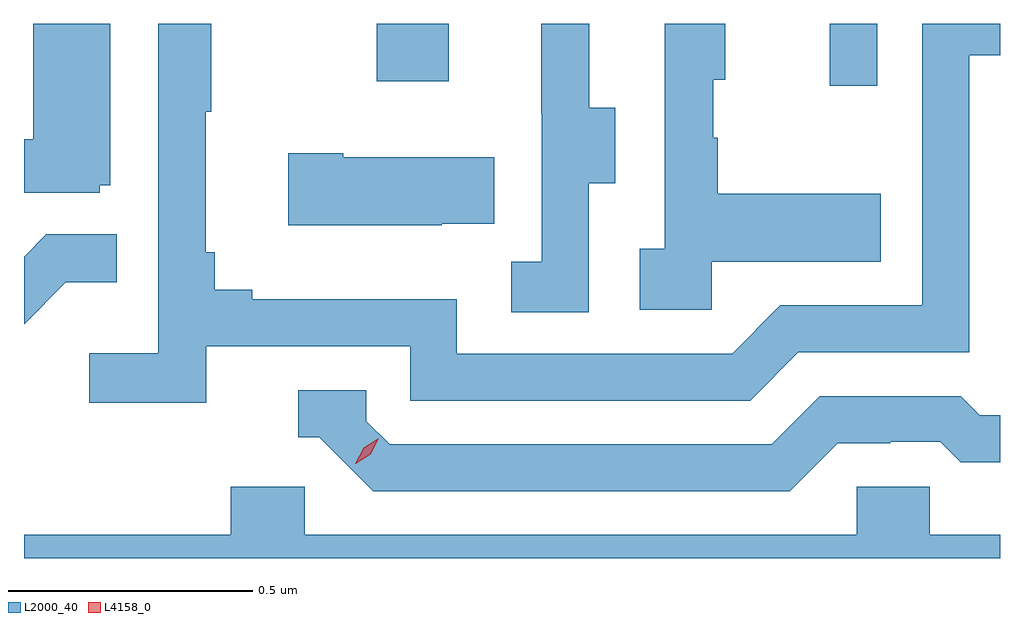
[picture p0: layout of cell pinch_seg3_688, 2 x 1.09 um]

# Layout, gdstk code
import gdstk
lib = gdstk.Library(unit=1e-6, precision=1e-09)
def R(c, l, rs):  # rectangles x0, y0, x1, y1
    for r in rs: c.add(gdstk.rectangle(r[:2], r[2:], *l))
def P(c, l, *ps):  # polygons
    for p in ps: c.add(gdstk.Polygon(p, *l))
L2000_40 = (2000, 40)
L4158_0 = (4158, 0)

pinch_seg3_688 = lib.new_cell('pinch_seg3_688')
R(pinch_seg3_688, L2000_40, [(1136.894,667.368,1136.991,667.495), (1135.966,667.377,1136.113,667.495)])
P(pinch_seg3_688, L2000_40, [(1135.616,666.834),(1136.034,666.834),(1136.034,666.723),(1136.731,666.723),(1136.83,666.822),(1137.18,666.822),(1137.18,667.431),(1137.243,667.431),(1137.243,667.495),(1137.084,667.495),(1137.084,666.918),(1136.793,666.918),(1136.694,666.819),(1136.13,666.819),(1136.13,666.931),(1135.711,666.931),(1135.711,666.95),(1135.634,666.95),(1135.634,667.027),(1135.615,667.027),(1135.615,667.315),(1135.627,667.315),(1135.627,667.495),(1135.518,667.495),(1135.518,666.82),(1135.377,666.82),(1135.377,666.718),(1135.616,666.718)],
  [(1136.4,667.168),(1136.455,667.168),(1136.455,667.323),(1136.401,667.323),(1136.401,667.495),(1136.303,667.495),(1136.303,667.311),(1136.304,667.311),(1136.304,667.007),(1136.241,667.007),(1136.241,666.904),(1136.4,666.904)],
  [(1136.652,667.007),(1136.999,667.007),(1136.999,667.147),(1136.665,667.147),(1136.665,667.262),(1136.655,667.262),(1136.655,667.38),(1136.68,667.38),(1136.68,667.495),(1136.556,667.495),(1136.556,667.034),(1136.505,667.034),(1136.505,666.909),(1136.652,666.909)],
  [(1135.398,667.164),(1135.42,667.164),(1135.42,667.495),(1135.262,667.495),(1135.262,667.258),(1135.243,667.258),(1135.243,667.149),(1135.398,667.149)],
  [(1136.099,667.085),(1136.207,667.085),(1136.207,667.222),(1135.897,667.222),(1135.897,667.23),(1135.785,667.23),(1135.785,667.082),(1136.099,667.082)],
  [(1135.329,666.965),(1135.433,666.965),(1135.433,667.064),(1135.289,667.064),(1135.243,667.018),(1135.243,666.879)],
  [(1136.911,666.636),(1137.018,666.636),(1137.018,666.639),(1137.121,666.639),(1137.163,666.597),(1137.243,666.597),(1137.243,666.693),(1137.202,666.693),(1137.163,666.732),(1136.874,666.732),(1136.775,666.633),(1135.992,666.633),(1135.944,666.681),(1135.944,666.744),(1135.805,666.744),(1135.805,666.648),(1135.848,666.648),(1135.959,666.537),(1136.812,666.537)],
  [(1137.243,666.448),(1137.099,666.448),(1137.099,666.546),(1136.949,666.546),(1136.949,666.448),(1135.818,666.448),(1135.818,666.546),(1135.667,666.546),(1135.667,666.448),(1135.243,666.448),(1135.243,666.4),(1137.243,666.4)])
P(pinch_seg3_688, L4158_0, [(1135.922,666.593),(1135.922,666.594),(1135.939,666.626),(1135.97,666.646),(1135.97,666.646),(1135.97,666.646),(1135.954,666.613),(1135.923,666.593)])

lib.write_gds('pinch_seg3_688.gds')
